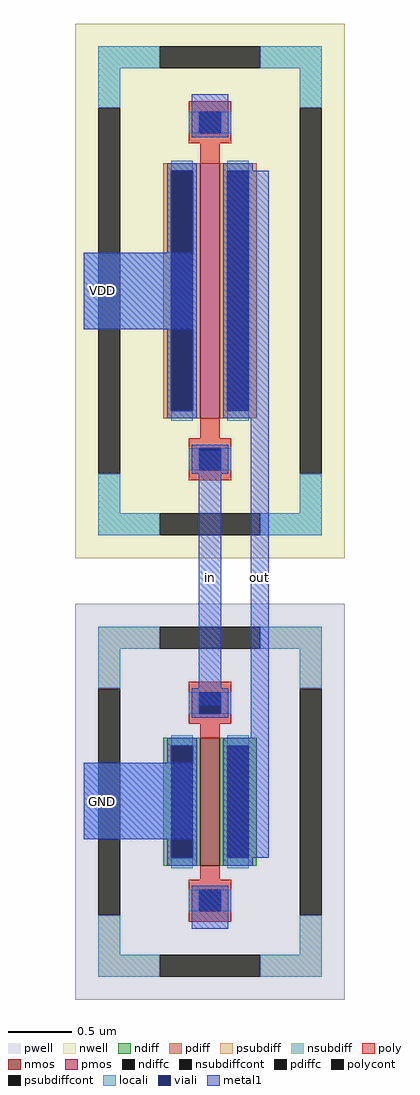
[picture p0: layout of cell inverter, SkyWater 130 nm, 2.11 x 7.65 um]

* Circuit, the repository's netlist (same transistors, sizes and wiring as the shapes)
* NGSPICE file created from inverter.ext - technology: sky130A

.subckt sky130_fd_pr__nfet_01v8_34VMYE B D S G
X0 S G D B sky130_fd_pr__nfet_01v8 ad=0.29 pd=2.58 as=0.29 ps=2.58 w=1 l=0.15
.ends

.subckt sky130_fd_pr__pfet_01v8_VJT448 B D S G
X0 S G D B sky130_fd_pr__pfet_01v8 ad=0.58 pd=4.58 as=0.58 ps=4.58 w=2 l=0.15
.ends

.subckt inverter in out VDD GND
Xnmos1 GND GND out in sky130_fd_pr__nfet_01v8_34VMYE
Xpmos1 VDD VDD out in sky130_fd_pr__pfet_01v8_VJT448
.ends

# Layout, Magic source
magic
tech sky130A
magscale 1 2
<< locali >>
rect -40 1000 131 1120
rect -40 200 131 320
<< metal1 >>
rect 129 1301 187 1368
rect -40 1000 131 1120
rect 185 872 250 1248
rect 140 410 176 810
rect 222 347 250 872
rect -40 200 131 320
rect 185 171 250 347
rect 129 60 187 127
use sky130_fd_pr__nfet_01v8_34VMYE  nmos1
transform 1 0 158 0 1 259
box -211 -310 211 310
use sky130_fd_pr__pfet_01v8_VJT448  pmos1
transform 1 0 158 0 1 1060
box -211 -419 211 419
<< labels >>
rlabel metal1 150 600 166 620 0 in
port 1 nsew
rlabel metal1 230 600 242 620 0 out
port 2 nsew
rlabel metal1 -20 250 0 270 0 GND
port 4 nsew
rlabel metal1 -20 1050 0 1070 0 VDD
port 3 nsew
<< end >>

# cell sky130_fd_pr__nfet_01v8_34VMYE: kit device sky130_fd_pr__nfet_01v8, w 1 l 0.15 m 1 nf 1 diffcov 100 polycov 100 guard 1 glc 1 grc 1 gtc 1 gbc 1 tbcov 100 rlcov 100 topc 1 botc 1 poverlap 0 doverlap 1 lmin 0.15 wmin 0.42 class mosfet compatible {sky130_fd_pr__nfet_01v8 sky130_fd_pr__nfet_01v8_lvt sky130_fd_bs_flash__special_sonosfet_star sky130_fd_pr__nfet_g5v0d10v5 sky130_fd_pr__nfet_05v0_nvt sky130_fd_pr__nfet_03v3_nvt} full_metal 1 conn_gates 0 viasrc 100 viadrn 100 viagate 100 viagb 0 viagr 0 viagl 0 viagt 0 doports 1

# cell sky130_fd_pr__pfet_01v8_VJT448: kit device sky130_fd_pr__pfet_01v8, w 2 l 0.15 m 1 nf 1 diffcov 100 polycov 100 guard 1 glc 1 grc 1 gtc 1 gbc 1 tbcov 100 rlcov 100 topc 1 botc 1 poverlap 0 doverlap 1 lmin 0.15 wmin 0.42 class mosfet compatible {sky130_fd_pr__pfet_01v8 sky130_fd_pr__pfet_01v8_lvt sky130_fd_pr__pfet_01v8_hvt sky130_fd_pr__pfet_g5v0d10v5} full_metal 1 conn_gates 0 viasrc 100 viadrn 100 viagate 100 viagb 0 viagr 0 viagl 0 viagt 0 doports 1
